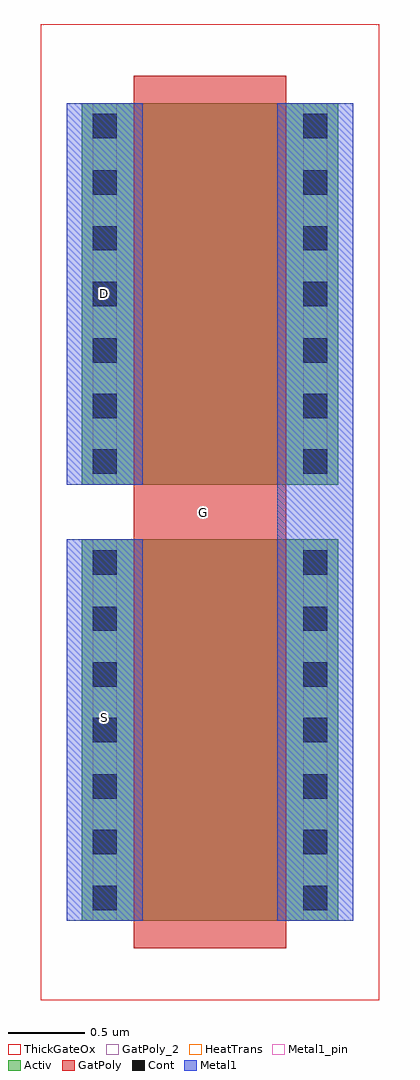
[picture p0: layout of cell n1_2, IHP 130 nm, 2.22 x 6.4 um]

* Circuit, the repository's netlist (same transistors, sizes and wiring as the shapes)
** sch_path: /foss/designs/sg13cmos5l_slot3_backup/macros/comparator/schematic/xschem/n1_2.sch
**.subckt n1_2 D G S B
*.iopin G
*.iopin D
*.iopin S
*.iopin B
XMbot D G X B sg13_hv_nmos w=2.5e-6 l=1e-6 ng=1 m=1 mm_ok=1
XMtop X G S B sg13_hv_nmos w=2.5e-6 l=1e-6 ng=1 m=1 mm_ok=1
**.ends
.end

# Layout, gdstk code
import gdstk
lib = gdstk.Library(unit=1e-6, precision=1e-09)
def R(c, l, rs):  # rectangles x0, y0, x1, y1
    for r in rs: c.add(gdstk.rectangle(r[:2], r[2:], *l))
def A(c, l, x, y, w, h, nx, ny, dx, dy):  # array of equal rectangles
    R(c, l, [(x+i*dx, y+j*dy, x+i*dx+w, y+j*dy+h) for i in range(nx) for j in range(ny)])
Activ = (1, 0)
GatPoly = (5, 0)
GatPoly_2 = (5, 2)
Cont = (6, 0)
Metal1 = (8, 0)
Metal1_pin = (8, 2)
ThickGateOx = (44, 0)
HeatTrans = (51, 0)

nmoshv = lib.new_cell('nmosHV')
R(nmoshv, Activ, [(0,0,0.3,0.3), (0,0,1.68,2.5), (1.38,0,1.68,0.3)])
R(nmoshv, GatPoly, [(0.34,-0.18,1.34,2.68)])
R(nmoshv, GatPoly_2, [(0.34,-0.18,1.34,2.68)])
A(nmoshv, Cont, 0.07, 0.07, 0.16, 0.16, 1, 3, 0, 0.365)
A(nmoshv, Cont, 1.45, 0.07, 0.16, 0.16, 1, 3, 0, 0.365)
A(nmoshv, Cont, 0.07, 1.17, 0.16, 0.16, 1, 3, 0, 0.365)
A(nmoshv, Cont, 1.45, 1.17, 0.16, 0.16, 1, 3, 0, 0.365)
R(nmoshv, Cont, [(0.07,2.27,0.23,2.43), (1.45,2.27,1.61,2.43)])
R(nmoshv, Metal1, [(0.07,0,0.23,2.5), (1.45,0,1.61,2.5)])
R(nmoshv, Metal1_pin, [(0.07,0,0.23,2.5), (1.45,0,1.61,2.5)])
R(nmoshv, ThickGateOx, [(-0.27,-0.52,1.95,3.02)])
R(nmoshv, HeatTrans, [(0.34,-0.18,1.34,2.68)])
nmoshv.add(gdstk.Label('nmosHV', (0.84,1.25), layer=63, texttype=0))
nmoshv.add(gdstk.Label('nmosHV', (0.84,1.25), layer=51, texttype=0))

n1_2 = lib.new_cell('n1_2')
R(n1_2, GatPoly_2, [(-1.475,0.6,-1.345,0.73)])
R(n1_2, Metal1_pin, [(-2.12,-0.75,-1.99,-0.62), (-2.12,2.035,-1.99,2.165)])
n1_2.add(gdstk.FlexPath([(-0.675,3.345),(-0.675,-2.015)], 0.5, ends="flush", simple_path=True, layer=8, datatype=0))  # Metal1
n1_2.add(gdstk.FlexPath([(-2.055,0.845),(-2.055,3.345)], 0.5, ends="flush", simple_path=True, layer=8, datatype=0))  # Metal1
n1_2.add(gdstk.FlexPath([(-2.055,-2.015),(-2.055,0.485)], 0.5, ends="flush", simple_path=True, layer=8, datatype=0))  # Metal1
n1_2.add(gdstk.Reference(nmoshv, (-2.205,0.845)))
n1_2.add(gdstk.Reference(nmoshv, (-2.205,-2.015)))
n1_2.add(gdstk.Label('S', (-2.055,-0.685), layer=8, texttype=25))
n1_2.add(gdstk.Label('D', (-2.055,2.1), layer=8, texttype=25))
n1_2.add(gdstk.Label('G', (-1.41,0.665), layer=5, texttype=1))

lib.write_gds('n1_2.gds')
